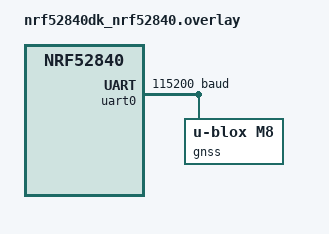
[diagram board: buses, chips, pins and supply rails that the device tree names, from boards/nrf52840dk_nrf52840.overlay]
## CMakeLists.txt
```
# Copyright (c) 2023 Trackunit Corporation
# SPDX-License-Identifier: Apache-2.0

cmake_minimum_required(VERSION 3.20.0)
find_package(Zephyr REQUIRED HINTS $ENV{ZEPHYR_BASE})
project(gnss)

target_sources(app PRIVATE src/main.c)
```

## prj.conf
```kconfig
# Copyright (c) 2023 Trackunit Corporation
# SPDX-License-Identifier: Apache-2.0

CONFIG_GNSS=y
CONFIG_GNSS_SATELLITES=n

CONFIG_LOG=y
CONFIG_LOG_BUFFER_SIZE=8192
CONFIG_GNSS_DUMP_TO_LOG=n
CONFIG_GNSS_DUMP_TO_LOG_BUF_SIZE=1024
CONFIG_GNSS_LOG_LEVEL_DBG=n
CONFIG_MODEM_MODULES_LOG_LEVEL_DBG=n

CONFIG_UART_ASYNC_API=y
CONFIG_CBPRINTF_FP_SUPPORT=y
```

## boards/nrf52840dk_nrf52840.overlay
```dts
// To get started, press Ctrl+Space to bring up the completion menu and view the available nodes.

// You can also use the buttons in the sidebar to perform actions on nodes.
// Actions currently available include:

// * Enabling / disabling the node
// * Adding the bus to a bus
// * Removing the node
// * Connecting ADC channels

// For more help, browse the DeviceTree documentation at https://docs.zephyrproject.org/latest/guides/dts/index.html
// You can also visit the nRF DeviceTree extension documentation at https://docs.nordicsemi.com/bundle/nrf-connect-vscode/page/guides/ncs_configure_app.html#devicetree-support-in-the-extension
/ {
	aliases {
		gnss = &gnss;
	};
};

&uart0 {
    status = "okay";
    current-speed = <115200>;

    gnss: u_blox_m10 {
		status = "okay";
		compatible = "u-blox,m8";
		uart-baudrate = <115200>;
	};
};
```

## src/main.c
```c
/*
 * Copyright (c) 2023 Trackunit Corporation
 *
 * SPDX-License-Identifier: Apache-2.0
 */

#include <stdio.h>
#include <zephyr/device.h>
#include <zephyr/drivers/gnss.h>
#include <zephyr/logging/log.h>

#define GNSS_MODEM DEVICE_DT_GET(DT_ALIAS(gnss))

LOG_MODULE_REGISTER(gnss_sample, CONFIG_GNSS_LOG_LEVEL);

static void gnss_data_cb(const struct device *dev, const struct gnss_data *data)
{
	if (data->info.fix_status != GNSS_FIX_STATUS_NO_FIX) {
		printf("Got a fix!\n");

     /* If values are in 1e9 format, scale them */
	 double latitude = data->nav_data.latitude / 1e9;
	 double longitude = data->nav_data.longitude / 1e9;
	 double altitude = data->nav_data.altitude / 1e3;  // Check if this needs scaling

	 printf("Latitude: %.7f°\n", latitude);
	 printf("Longitude: %.7f°\n", longitude);
	 printf("Altitude: %.2f m\n", altitude);
	}
}
GNSS_DATA_CALLBACK_DEFINE(GNSS_MODEM, gnss_data_cb);

#if CONFIG_GNSS_SATELLITES
static void gnss_satellites_cb(const struct device *dev, const struct gnss_satellite *satellites,
			       uint16_t size)
{
	unsigned int tracked_count = 0;

	for (unsigned int i = 0; i != size; ++i) {
		tracked_count += satellites[i].is_tracked;
	}
	printf("%u satellite%s reported (of which %u tracked)!\n",
		size, size > 1 ? "s" : "", tracked_count);
}
#endif
GNSS_SATELLITES_CALLBACK_DEFINE(GNSS_MODEM, gnss_satellites_cb);

int main(void)
{
	gnss_set_fix_rate(GNSS_MODEM, 1000);
	return 0;
}
```
